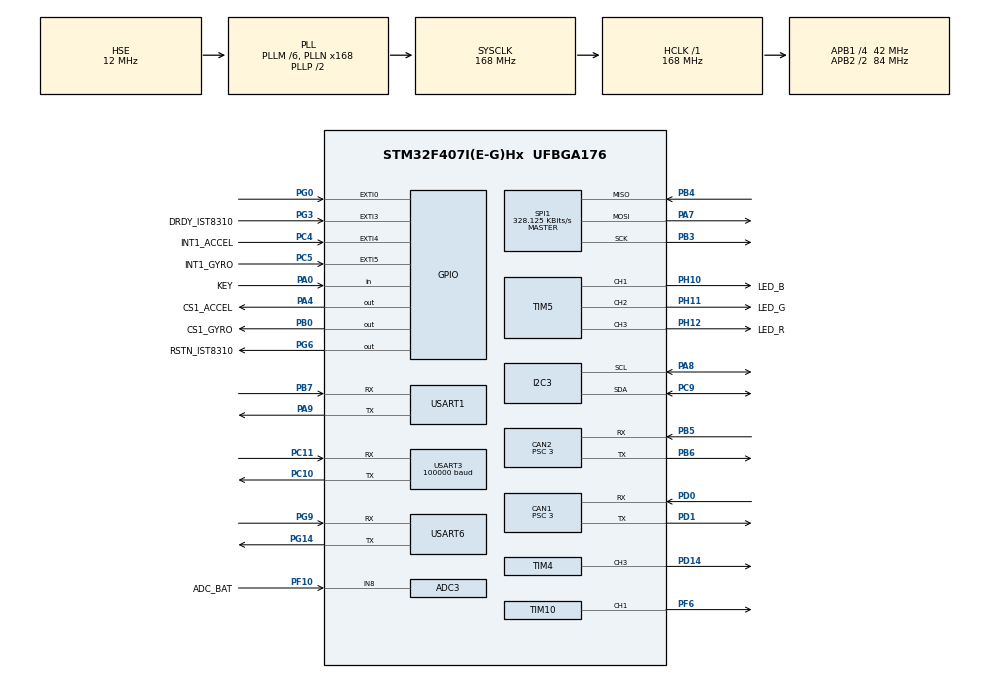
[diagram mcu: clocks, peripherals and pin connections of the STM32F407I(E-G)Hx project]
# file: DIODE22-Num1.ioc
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ADC1.Channel-0\#ChannelRegularConversion=ADC_CHANNEL_TEMPSENSOR
ADC1.ClockPrescaler=ADC_CLOCK_SYNC_PCLK_DIV6
ADC1.NbrOfConversionFlag=1
ADC1.Rank-0\#ChannelRegularConversion=1
ADC1.SamplingTime-0\#ChannelRegularConversion=ADC_SAMPLETIME_3CYCLES
ADC1.master=1
ADC3.Channel-0\#ChannelRegularConversion=ADC_CHANNEL_8
ADC3.ClockPrescaler=ADC_CLOCK_SYNC_PCLK_DIV6
ADC3.NbrOfConversionFlag=1
ADC3.Rank-0\#ChannelRegularConversion=1
ADC3.SamplingTime-0\#ChannelRegularConversion=ADC_SAMPLETIME_3CYCLES
CAN1.ABOM=ENABLE
CAN1.BS1=CAN_BS1_10TQ
CAN1.BS2=CAN_BS2_3TQ
CAN1.CalculateBaudRate=1000000
CAN1.CalculateTimeBit=999.99
CAN1.CalculateTimeQuantum=71.42857142857143
CAN1.Prescaler=3
CAN2.BS1=CAN_BS1_10TQ
CAN2.BS2=CAN_BS2_3TQ
CAN2.CalculateBaudRate=1000000
CAN2.CalculateTimeBit=999.99
CAN2.CalculateTimeQuantum=71.42857142857143
CAN2.Prescaler=3
Dma.Request0=SPI1_RX
Dma.Request1=SPI1_TX
Dma.Request2=USART1_RX
Dma.Request3=USART1_TX
Dma.Request4=USART6_RX
Dma.Request5=USART6_TX
Dma.Request6=USART3_RX
Dma.SPI1_RX.0.Direction=DMA_PERIPH_TO_MEMORY
Dma.SPI1_RX.0.FIFOMode=DMA_FIFOMODE_DISABLE
Dma.SPI1_RX.0.Instance=DMA2_Stream2
Dma.SPI1_RX.0.MemDataAlignment=DMA_MDATAALIGN_BYTE
Dma.SPI1_RX.0.MemInc=DMA_MINC_ENABLE
Dma.SPI1_RX.0.Mode=DMA_NORMAL
Dma.SPI1_RX.0.PeriphDataAlignment=DMA_PDATAALIGN_BYTE
Dma.SPI1_RX.0.PeriphInc=DMA_PINC_DISABLE
Dma.SPI1_RX.0.Priority=DMA_PRIORITY_VERY_HIGH
Dma.SPI1_TX.1.Direction=DMA_MEMORY_TO_PERIPH
Dma.SPI1_TX.1.FIFOMode=DMA_FIFOMODE_DISABLE
Dma.SPI1_TX.1.Instance=DMA2_Stream3
Dma.SPI1_TX.1.MemDataAlignment=DMA_MDATAALIGN_BYTE
Dma.SPI1_TX.1.MemInc=DMA_MINC_ENABLE
Dma.SPI1_TX.1.Mode=DMA_NORMAL
Dma.SPI1_TX.1.PeriphDataAlignment=DMA_PDATAALIGN_BYTE
Dma.SPI1_TX.1.PeriphInc=DMA_PINC_DISABLE
Dma.SPI1_TX.1.Priority=DMA_PRIORITY_HIGH
Dma.USART1_RX.2.Direction=DMA_PERIPH_TO_MEMORY
Dma.USART1_RX.2.FIFOMode=DMA_FIFOMODE_DISABLE
Dma.USART1_RX.2.Instance=DMA2_Stream5
Dma.USART1_RX.2.MemDataAlignment=DMA_MDATAALIGN_BYTE
Dma.USART1_RX.2.MemInc=DMA_MINC_ENABLE
Dma.USART1_RX.2.Mode=DMA_NORMAL
Dma.USART1_RX.2.PeriphDataAlignment=DMA_PDATAALIGN_BYTE
Dma.USART1_RX.2.PeriphInc=DMA_PINC_DISABLE
Dma.USART1_RX.2.Priority=DMA_PRIORITY_HIGH
Dma.USART1_TX.3.Direction=DMA_MEMORY_TO_PERIPH
Dma.USART1_TX.3.FIFOMode=DMA_FIFOMODE_DISABLE
Dma.USART1_TX.3.Instance=DMA2_Stream7
Dma.USART1_TX.3.MemDataAlignment=DMA_MDATAALIGN_BYTE
Dma.USART1_TX.3.MemInc=DMA_MINC_ENABLE
Dma.USART1_TX.3.Mode=DMA_NORMAL
Dma.USART1_TX.3.PeriphDataAlignment=DMA_PDATAALIGN_BYTE
Dma.USART1_TX.3.PeriphInc=DMA_PINC_DISABLE
Dma.USART1_TX.3.Priority=DMA_PRIORITY_HIGH
Dma.USART3_RX.6.Direction=DMA_PERIPH_TO_MEMORY
Dma.USART3_RX.6.FIFOMode=DMA_FIFOMODE_DISABLE
Dma.USART3_RX.6.Instance=DMA1_Stream1
Dma.USART3_RX.6.MemDataAlignment=DMA_MDATAALIGN_BYTE
Dma.USART3_RX.6.MemInc=DMA_MINC_ENABLE
Dma.USART3_RX.6.Mode=DMA_CIRCULAR
Dma.USART3_RX.6.PeriphDataAlignment=DMA_PDATAALIGN_BYTE
Dma.USART3_RX.6.PeriphInc=DMA_PINC_DISABLE
Dma.USART3_RX.6.Priority=DMA_PRIORITY_LOW
Dma.USART6_RX.4.Direction=DMA_PERIPH_TO_MEMORY
Dma.USART6_RX.4.FIFOMode=DMA_FIFOMODE_DISABLE
Dma.USART6_RX.4.Instance=DMA2_Stream1
Dma.USART6_RX.4.MemDataAlignment=DMA_MDATAALIGN_BYTE
Dma.USART6_RX.4.MemInc=DMA_MINC_ENABLE
Dma.USART6_RX.4.Mode=DMA_CIRCULAR
Dma.USART6_RX.4.PeriphDataAlignment=DMA_PDATAALIGN_BYTE
Dma.USART6_RX.4.PeriphInc=DMA_PINC_DISABLE
Dma.USART6_RX.4.Priority=DMA_PRIORITY_LOW
Dma.USART6_TX.5.Direction=DMA_MEMORY_TO_PERIPH
Dma.USART6_TX.5.FIFOMode=DMA_FIFOMODE_DISABLE
Dma.USART6_TX.5.Instance=DMA2_Stream6
Dma.USART6_TX.5.MemDataAlignment=DMA_MDATAALIGN_BYTE
Dma.USART6_TX.5.MemInc=DMA_MINC_ENABLE
Dma.USART6_TX.5.Mode=DMA_NORMAL
Dma.USART6_TX.5.PeriphDataAlignment=DMA_PDATAALIGN_BYTE
Dma.USART6_TX.5.PeriphInc=DMA_PINC_DISABLE
Dma.USART6_TX.5.Priority=DMA_PRIORITY_LOW
FREERTOS.INCLUDE_eTaskGetState=1
FREERTOS.INCLUDE_pcTaskGetTaskName=1
FREERTOS.INCLUDE_uxTaskGetStackHighWaterMark=1
FREERTOS.INCLUDE_vTaskCleanUpResources=1
FREERTOS.INCLUDE_vTaskDelayUntil=1
FREERTOS.INCLUDE_xEventGroupSetBitFromISR=1
FREERTOS.INCLUDE_xQueueGetMutexHolder=1
FREERTOS.INCLUDE_xSemaphoreGetMutexHolder=1
FREERTOS.INCLUDE_xTaskAbortDelay=1
FREERTOS.INCLUDE_xTaskGetCurrentTaskHandle=1
FREERTOS.INCLUDE_xTaskGetHandle=1
FREERTOS.INCLUDE_xTimerPendFunctionCall=1
FREERTOS.Tasks01=defaultTask,0,128,StartDefaultTask,Default,NULL,Dynamic,NULL,NULL
FREERTOS.configMAX_PRIORITIES=15
FREERTOS.configTOTAL_HEAP_SIZE=24576
FREERTOS.configUSE_TIMERS=1
I2C3.I2C_Mode=I2C_Fast
Mcu.Family=STM32F4
Mcu.Name=STM32F407I(E-G)Hx
Mcu.Package=UFBGA176
NVIC.CAN1_RX0_IRQn=true\:5\:0\:false\:false\:true\:true\:true\:true
NVIC.CAN1_TX_IRQn=true\:5\:0\:false\:false\:true\:true\:true\:true
NVIC.CAN2_RX0_IRQn=true\:5\:0\:false\:false\:true\:true\:true\:true
NVIC.DMA1_Stream1_IRQn=true\:5\:0\:false\:false\:true\:true\:false\:true
NVIC.DMA2_Stream1_IRQn=true\:5\:0\:false\:false\:true\:true\:false\:true
NVIC.DMA2_Stream2_IRQn=true\:5\:0\:false\:false\:true\:true\:false\:true
NVIC.DMA2_Stream3_IRQn=true\:5\:0\:false\:false\:true\:true\:false\:true
NVIC.DMA2_Stream5_IRQn=true\:5\:0\:false\:false\:true\:true\:false\:true
NVIC.DMA2_Stream6_IRQn=true\:5\:0\:false\:false\:true\:true\:false\:true
NVIC.DMA2_Stream7_IRQn=true\:5\:0\:false\:false\:true\:true\:false\:true
NVIC.EXTI0_IRQn=true\:5\:0\:false\:false\:true\:true\:true\:true
NVIC.EXTI3_IRQn=true\:5\:0\:false\:false\:true\:true\:true\:true
NVIC.EXTI4_IRQn=true\:5\:0\:false\:false\:true\:true\:true\:true
NVIC.EXTI9_5_IRQn=true\:5\:0\:false\:false\:true\:true\:true\:true
NVIC.PriorityGroup=NVIC_PRIORITYGROUP_4
NVIC.USART1_IRQn=true\:5\:0\:false\:false\:true\:true\:true\:true
NVIC.USART3_IRQn=true\:5\:0\:false\:false\:true\:true\:true\:true
NVIC.USART6_IRQn=true\:5\:0\:false\:false\:true\:true\:true\:true
PA0-WKUP.GPIO_Label=KEY
PA0-WKUP.GPIO_PuPd=GPIO_PULLUP
PA0-WKUP.Signal=GPIO_Input
PA13.Mode=Serial_Wire
PA13.Signal=SYS_JTMS-SWDIO
PA14.Mode=Serial_Wire
PA14.Signal=SYS_JTCK-SWCLK
PA4.GPIO_Label=CS1_ACCEL
PA4.GPIO_PuPd=GPIO_PULLUP
PA4.GPIO_Speed=GPIO_SPEED_FREQ_HIGH
PA4.PinState=GPIO_PIN_SET
PA4.Signal=GPIO_Output
PA7.Mode=Full_Duplex_Master
PA7.Signal=SPI1_MOSI
PA8.GPIO_Pu=GPIO_PULLUP
PA8.Mode=I2C
PA8.Signal=I2C3_SCL
PA9.Mode=Asynchronous
PA9.Signal=USART1_TX
PB0.GPIO_Label=CS1_GYRO
PB0.GPIO_PuPd=GPIO_PULLUP
PB0.GPIO_Speed=GPIO_SPEED_FREQ_HIGH
PB0.PinState=GPIO_PIN_SET
PB0.Signal=GPIO_Output
PB3.Mode=Full_Duplex_Master
PB3.Signal=SPI1_SCK
PB4.Mode=Full_Duplex_Master
PB4.Signal=SPI1_MISO
PB5.Mode=CAN_Activate
PB5.Signal=CAN2_RX
PB6.Mode=CAN_Activate
PB6.Signal=CAN2_TX
PB7.Mode=Asynchronous
PB7.Signal=USART1_RX
PC10.Mode=Asynchronous
PC10.Signal=USART3_TX
PC11.Mode=Asynchronous
PC11.Signal=USART3_RX
PC4.GPIO_Label=INT1_ACCEL
PC4.GPIO_PuPd=GPIO_PULLUP
PC4.Signal=GPXTI4
PC5.GPIO_Label=INT1_GYRO
PC5.Signal=GPXTI5
PC9.GPIO_Pu=GPIO_PULLUP
PC9.Mode=I2C
PC9.Signal=I2C3_SDA
PD0.Mode=CAN_Activate
PD0.Signal=CAN1_RX
PD1.Mode=CAN_Activate
PD1.Signal=CAN1_TX
PD14.GPIO_Speed=GPIO_SPEED_FREQ_VERY_HIGH
PD14.Signal=S_TIM4_CH3
PF10.GPIO_Label=ADC_BAT
PF10.Mode=IN8
PF10.Signal=ADC3_IN8
PF6.GPIO_PuPd=GPIO_PULLUP
PF6.GPIO_Speed=GPIO_SPEED_FREQ_HIGH
PF6.Signal=S_TIM10_CH1
PG0.GPIO_PuPd=GPIO_PULLUP
PG0.Signal=GPXTI0
PG14.Mode=Asynchronous
PG14.Signal=USART6_TX
PG3.GPIO_Label=DRDY_IST8310
PG3.GPIO_PuPd=GPIO_PULLUP
PG3.Signal=GPXTI3
PG6.GPIO_Label=RSTN_IST8310
PG6.GPIO_PuPd=GPIO_PULLUP
PG6.GPIO_Speed=GPIO_SPEED_FREQ_HIGH
PG6.PinState=GPIO_PIN_SET
PG6.Signal=GPIO_Output
PG9.Mode=Asynchronous
PG9.Signal=USART6_RX
PH0-OSC_IN.Mode=HSE-External-Oscillator
PH0-OSC_IN.Signal=RCC_OSC_IN
PH1-OSC_OUT.Mode=HSE-External-Oscillator
PH1-OSC_OUT.Signal=RCC_OSC_OUT
PH10.GPIO_Label=LED_B
PH10.GPIO_PuPd=GPIO_PULLUP
PH10.GPIO_Speed=GPIO_SPEED_FREQ_VERY_HIGH
PH10.Signal=S_TIM5_CH1
PH11.GPIO_Label=LED_G
PH11.GPIO_PuPd=GPIO_PULLUP
PH11.GPIO_Speed=GPIO_SPEED_FREQ_VERY_HIGH
PH11.Signal=S_TIM5_CH2
PH12.GPIO_Label=LED_R
PH12.GPIO_PuPd=GPIO_PULLUP
PH12.GPIO_Speed=GPIO_SPEED_FREQ_VERY_HIGH
PH12.Signal=S_TIM5_CH3
ProjectManager.HeapSize=0x200
ProjectManager.StackSize=0x400
ProjectManager.TargetToolchain=MDK-ARM V5
RCC.48MHZClocksFreq_Value=84000000
RCC.AHBFreq_Value=168000000
RCC.APB1CLKDivider=RCC_HCLK_DIV4
RCC.APB1Freq_Value=42000000
RCC.APB1TimFreq_Value=84000000
RCC.APB2CLKDivider=RCC_HCLK_DIV2
RCC.APB2Freq_Value=84000000
RCC.APB2TimFreq_Value=168000000
RCC.CortexFreq_Value=168000000
RCC.HCLKFreq_Value=168000000
RCC.HSE_VALUE=12000000
RCC.HSI_VALUE=16000000
RCC.LSE_VALUE=32768
RCC.PLLM=6
RCC.PLLN=168
RCC.PLLSourceVirtual=RCC_PLLSOURCE_HSE
RCC.SYSCLKFreq_VALUE=168000000
RCC.SYSCLKSource=RCC_SYSCLKSOURCE_PLLCLK
RCC.VCOOutputFreq_Value=336000000
SH.S_TIM10_CH1.0=TIM10_CH1,PWM Generation1 CH1
SH.S_TIM4_CH3.0=TIM4_CH3,PWM Generation3 CH3
SH.S_TIM5_CH1.0=TIM5_CH1,PWM Generation1 CH1
SH.S_TIM5_CH2.0=TIM5_CH2,PWM Generation2 CH2
SH.S_TIM5_CH3.0=TIM5_CH3,PWM Generation3 CH3
SPI1.BaudRatePrescaler=SPI_BAUDRATEPRESCALER_256
SPI1.CLKPhase=SPI_PHASE_2EDGE
SPI1.CLKPolarity=SPI_POLARITY_HIGH
SPI1.CalculateBaudRate=328.125 KBits/s
SPI1.Direction=SPI_DIRECTION_2LINES
SPI1.Mode=SPI_MODE_MASTER
SPI1.VirtualType=VM_MASTER
TIM10.Channel=TIM_CHANNEL_1
TIM4.Channel-PWM\ Generation3\ CH3=TIM_CHANNEL_3
TIM5.Channel-PWM\ Generation1\ CH1=TIM_CHANNEL_1
TIM5.Channel-PWM\ Generation2\ CH2=TIM_CHANNEL_2
TIM5.Channel-PWM\ Generation3\ CH3=TIM_CHANNEL_3
USART1.VirtualMode=VM_ASYNC
USART3.BaudRate=100000
USART3.Parity=PARITY_EVEN
USART3.VirtualMode=VM_ASYNC
USART6.VirtualMode=VM_ASYNC
VP_ADC1_TempSens_Input.Mode=IN-TempSens
VP_ADC1_Vref_Input.Mode=IN-Vrefint
VP_CRC_VS_CRC.Mode=CRC_Activate
VP_FREERTOS_VS_CMSIS_V1.Mode=CMSIS_V1
VP_TIM10_VS_ClockSourceINT.Mode=Enable_Timer
VP_TIM4_VS_ClockSourceINT.Mode=Internal
board=custom

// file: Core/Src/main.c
/* USER CODE BEGIN Header */
/**
  ******************************************************************************
  * @file           : main.c
  * @brief          : Main program body
  ******************************************************************************
  * @attention
  *
  * <h2><center>&copy; Copyright (c) 2022 STMicroelectronics.
  * All rights reserved.</center></h2>
  *
  * This software component is licensed by ST under Ultimate Liberty license
  * SLA0044, the "License"; You may not use this file except in compliance with
  * the License. You may obtain a copy of the License at:
  *                             www.st.com/SLA0044
  *
  ******************************************************************************
  */
/* USER CODE END Header */
#include "main.h"
#include "cmsis_os.h"
#include "adc.h"
#include "can.h"
#include "crc.h"
#include "dma.h"
#include "i2c.h"
#include "spi.h"
#include "tim.h"
#include "usart.h"
#include "gpio.h"

/* USER CODE BEGIN PTD */
extern uint8_t tmp_vision;
/* USER CODE END PTD */

void SystemClock_Config(void);
void MX_FREERTOS_Init(void);
/* USER CODE BEGIN PFP */
void BSP_All_Init(void);		// 所有设备初始化
/* USER CODE END PFP */

int main(void)
{

  /* MCU Configuration--------------------------------------------------------*/

  /* Reset of all peripherals, Initializes the Flash interface and the Systick. */

  HAL_Init();

  /* Configure the system clock */
  SystemClock_Config();

  /* Initialize all configured peripherals */
  MX_GPIO_Init();
  MX_DMA_Init();
  MX_ADC1_Init();
  MX_ADC3_Init();
  MX_CAN1_Init();
  MX_CAN2_Init();
  MX_SPI1_Init();
  MX_TIM4_Init();
  MX_TIM5_Init();
  MX_TIM10_Init();
  MX_USART1_UART_Init();
  MX_USART6_UART_Init();
  MX_USART3_UART_Init();
  MX_CRC_Init();
  MX_I2C3_Init();
  /* USER CODE BEGIN 2 */
  BSP_All_Init();
  /* USER CODE END 2 */

  /* Call init function for freertos objects (in freertos.c) */
  MX_FREERTOS_Init();
  /* Start scheduler */
  osKernelStart();

  /* We should never get here as control is now taken by the scheduler */
  /* Infinite loop */
  while (1)
  {

  }
}

void SystemClock_Config(void)
{
  RCC_OscInitTypeDef RCC_OscInitStruct = {0};
  RCC_ClkInitTypeDef RCC_ClkInitStruct = {0};

  /** Configure the main internal regulator output voltage
  */
  __HAL_RCC_PWR_CLK_ENABLE();
  __HAL_PWR_VOLTAGESCALING_CONFIG(PWR_REGULATOR_VOLTAGE_SCALE1);
  /** Initializes the RCC Oscillators according to the specified parameters
  * in the RCC_OscInitTypeDef structure.
  */
  RCC_OscInitStruct.OscillatorType = RCC_OSCILLATORTYPE_HSE;
  RCC_OscInitStruct.HSEState = RCC_HSE_ON;
  RCC_OscInitStruct.PLL.PLLState = RCC_PLL_ON;
  RCC_OscInitStruct.PLL.PLLSource = RCC_PLLSOURCE_HSE;
  RCC_OscInitStruct.PLL.PLLM = 6;
  RCC_OscInitStruct.PLL.PLLN = 168;
  RCC_OscInitStruct.PLL.PLLP = RCC_PLLP_DIV2;
  RCC_OscInitStruct.PLL.PLLQ = 4;
  if (HAL_RCC_OscConfig(&RCC_OscInitStruct) != HAL_OK)
  {
    Error_Handler();
  }
  /** Initializes the CPU, AHB and APB buses clocks
  */
  RCC_ClkInitStruct.ClockType = RCC_CLOCKTYPE_HCLK|RCC_CLOCKTYPE_SYSCLK
                              |RCC_CLOCKTYPE_PCLK1|RCC_CLOCKTYPE_PCLK2;
  RCC_ClkInitStruct.SYSCLKSource = RCC_SYSCLKSOURCE_PLLCLK;
  RCC_ClkInitStruct.AHBCLKDivider = RCC_SYSCLK_DIV1;
  RCC_ClkInitStruct.APB1CLKDivider = RCC_HCLK_DIV4;
  RCC_ClkInitStruct.APB2CLKDivider = RCC_HCLK_DIV2;

  if (HAL_RCC_ClockConfig(&RCC_ClkInitStruct, FLASH_LATENCY_5) != HAL_OK)
  {
    Error_Handler();
  }
}

/* USER CODE BEGIN 4 */
void BSP_All_Init(void)	// 初始化所有硬件层
{
    uint8_t i=0;	// 计数
    extern uint8_t aTxVisionMessages[22];

    while(BMI088_init())
    {
       HAL_Delay(100);
    }

    hspi1.Init.BaudRatePrescaler = SPI_BAUDRATEPRESCALER_8;
    if (HAL_SPI_Init(&hspi1) != HAL_OK)Error_Handler();
    mpu_offset_call();

    CAN_FilterInit(&hcan1);	// 初始化CAN1的筛选器
    CAN_FilterInit(&hcan2);	// 初始化CAN2的筛选器

//    PID_Init(&PID_M3508[6],POSITION_PID,15000,16000,5,0.1,0.1);		// 发射拨盘电机 速度闭环 10 0.1 0.2    5/15：15,0.1,0.2
//    PID_Init(&PID_M3508_ANGLE[6],POSITION_PID,15000,5000,20,0.1,0.1);	// 发射拨盘电机 角度闭环    15,0,50   5/15：15,0.1,60     5/16：70,0.1,250
    PID_Init(&PID_M3508[6],DELTA_PID,15000,16000,500,0,1000);		// 发射拨盘电机 速度闭环 10 0.1 0.2    5/15：15,0.1,0.2
    PID_Init(&PID_M3508_ANGLE[6],POSITION_PID,10000,16384,80,0.1,300);	// 发射拨盘电机 角度闭环    15,0,50   5/15：15,0.1,60     5/16：70,0.1,250

    for(i=4; i<6; i++)	// 两个摩擦轮电机
    {
        PID_Init(&PID_M3508[i],DELTA_PID,17000,20000,3.5,0.1,0.1);// 0.01//5 0.1 0.1
    }
    PID_Init(&PID_M3508_Follow[0],POSITION_PID,3000,10000,10,0,0);
    PID_Init(&PID_M3508_Follow[1],POSITION_PID,4000,10000,50,0,0);
    PID_Init(&PID_HEAT_PWM,POSITION_PID,1000,1000,1600,0.2,0);
    client_state_now.motion=1;

    extern uint8_t tmp_vision;

//    HAL_UART_Receive_IT(&JUDGE_UART, (uint8_t *)aRxBuffer, 1);  //串口6裁判系统  串口1视觉
//    HAL_UART_Receive_DMA(&VISION_UART, &tmp_vision, 1);
//    HAL_UART_Transmit_DMA(&VISION_UART,(uint8_t*)aTxVisionMessages,sizeof(aTxVisionMessages));

//    InitJudgeUart();
    dbus_uart_init();		// 初始化遥控器
//	LASER_On();		// 开启激光
//  LASER_Off();	// 关闭激光
    Beep(200);
}
/* USER CODE END 4 */

void Error_Handler(void)
{
  /* USER CODE BEGIN Error_Handler_Debug */
  /* User can add his own implementation to report the HAL error return state */
	 HAL_UART_Receive_DMA(&huart6, &tmp_vision, 1);
  /* USER CODE END Error_Handler_Debug */
}

/************************ (C) COPYRIGHT STMicroelectronics *****END OF FILE****/

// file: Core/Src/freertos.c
/* USER CODE BEGIN Header */
/**
  ******************************************************************************
  * File Name          : freertos.c
  * Description        : Code for freertos applications
  ******************************************************************************
  * @attention
  *
  * <h2><center>&copy; Copyright (c) 2022 STMicroelectronics.
  * All rights reserved.</center></h2>
  *
  * This software component is licensed by ST under Ultimate Liberty license
  * SLA0044, the "License"; You may not use this file except in compliance with
  * the License. You may obtain a copy of the License at:
  *                             www.st.com/SLA0044
  *
  ******************************************************************************
  */
/* USER CODE END Header */

#include "FreeRTOS.h"
#include "task.h"
#include "main.h"
#include "cmsis_os.h"

/* USER CODE BEGIN Includes */
#include "bsp_can.h"
#include "pid.h"
#include "gimbal.h"
#include "bsp_can.h"
#include "JudgeTask.h"
#include "kalman.h"
#include "chassis_task.h"
#include "gimbal_task.h"
#include "infoupdate_task.h"
#include "led_task.h"
#include "outctl_task.h"
#include "task_10hz_task.h"
#include "shoot_task.h"
/* USER CODE END Includes */

osThreadId defaultTaskHandle;

/* USER CODE BEGIN FunctionPrototypes */
osThreadId chassisTaskHandle;
osThreadId gimbalTaskHandle;
osThreadId ledTaskHandle;
osThreadId shootTaskHandle;
osThreadId info_updateTaskHandle;
osThreadId task_10hzTaskHandle;
osThreadId outctlTaskHandle;
/* USER CODE END FunctionPrototypes */

void StartDefaultTask(void const * argument);

void MX_FREERTOS_Init(void); /* (MISRA C 2004 rule 8.1) */

/* GetIdleTaskMemory prototype (linked to static allocation support) */
void vApplicationGetIdleTaskMemory( StaticTask_t **ppxIdleTaskTCBBuffer, StackType_t **ppxIdleTaskStackBuffer, uint32_t *pulIdleTaskStackSize );

/* GetTimerTaskMemory prototype (linked to static allocation support) */
void vApplicationGetTimerTaskMemory( StaticTask_t **ppxTimerTaskTCBBuffer, StackType_t **ppxTimerTaskStackBuffer, uint32_t *pulTimerTaskStackSize );

/* USER CODE BEGIN GET_IDLE_TASK_MEMORY */
static StaticTask_t xIdleTaskTCBBuffer;
static StackType_t xIdleStack[configMINIMAL_STACK_SIZE];

void vApplicationGetIdleTaskMemory( StaticTask_t **ppxIdleTaskTCBBuffer, StackType_t **ppxIdleTaskStackBuffer, uint32_t *pulIdleTaskStackSize )
{
  *ppxIdleTaskTCBBuffer = &xIdleTaskTCBBuffer;
  *ppxIdleTaskStackBuffer = &xIdleStack[0];
  *pulIdleTaskStackSize = configMINIMAL_STACK_SIZE;
  /* place for user code */
}
/* USER CODE END GET_IDLE_TASK_MEMORY */

/* USER CODE BEGIN GET_TIMER_TASK_MEMORY */
static StaticTask_t xTimerTaskTCBBuffer;
static StackType_t xTimerStack[configTIMER_TASK_STACK_DEPTH];

void vApplicationGetTimerTaskMemory( StaticTask_t **ppxTimerTaskTCBBuffer, StackType_t **ppxTimerTaskStackBuffer, uint32_t *pulTimerTaskStackSize )
{
  *ppxTimerTaskTCBBuffer = &xTimerTaskTCBBuffer;
  *ppxTimerTaskStackBuffer = &xTimerStack[0];
  *pulTimerTaskStackSize = configTIMER_TASK_STACK_DEPTH;
  /* place for user code */
}
/* USER CODE END GET_TIMER_TASK_MEMORY */

void MX_FREERTOS_Init(void) {

  /* Create the thread(s) */
  /* definition and creation of defaultTask */
  osThreadDef(defaultTask, StartDefaultTask, osPriorityNormal, 0, 128);
  defaultTaskHandle = osThreadCreate(osThread(defaultTask), NULL);

  /* USER CODE BEGIN RTOS_THREADS */
  /* add threads, ... */
  osThreadDef(chassisTask, chassis_task, osPriorityHigh, 0, 512);
  chassisTaskHandle = osThreadCreate(osThread(chassisTask), NULL);

//  osThreadDef(gimbalTask, gimbal_task, osPriorityRealtime, 0, 1024);
//  gimbalTaskHandle = osThreadCreate(osThread(gimbalTask), NULL);

//  osThreadDef(shootTask, shoot_task, osPriorityAboveNormal, 0, 128);
//  shootTaskHandle = osThreadCreate(osThread(shootTask), NULL);

//  osThreadDef(info_update, info_update_task, osPriorityNormal, 0, 512);
//  info_updateTaskHandle = osThreadCreate(osThread(info_update), NULL);

//  osThreadDef(task_10hz, task_10hz_task, osPriorityAboveNormal, 0, 256);
//  task_10hzTaskHandle = osThreadCreate(osThread(task_10hz), NULL);

  osThreadDef(ledTask, led_task, osPriorityNormal, 0, 128);
  ledTaskHandle = osThreadCreate(osThread(ledTask), NULL);

  osThreadDef(outctl, outctl_task, osPriorityNormal, 0, 128);
  outctlTaskHandle = osThreadCreate(osThread(outctl), NULL);

  /* USER CODE END RTOS_THREADS */

}

void StartDefaultTask(void const * argument)
{
  for(;;)
  {
    osDelay(1);
  }
}

/************************ (C) COPYRIGHT STMicroelectronics *****END OF FILE****/
